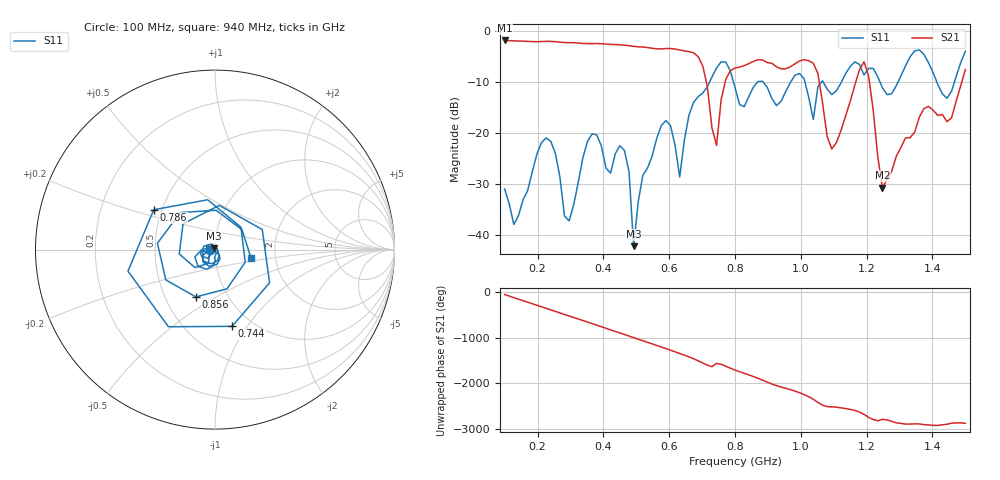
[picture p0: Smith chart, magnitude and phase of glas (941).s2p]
! NanoVNA-App
! Date: 2025-09-25 16:02:48
! Start: 100MHz Stop: 1,5GHz Points: 101
! S-Parameter data: F S11 S21 S12 S22
# Hz S RI R 50
!  Frequency  S11_Real  S11_Imag  S21_Real  S21_Imag  S12_Real  S12_Imag  S22_Real  S22_Imag
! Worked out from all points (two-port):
!   101 points, 100 MHz to 1.5 GHz, reference 50 ohm
!   highest |S21| = -1.80 dB at 100 MHz (marker M1); lowest = -30.6 dB at 1.248 GHz (marker M2)
!   |S21| within 3 dB of the highest: start of sweep to 684.7 MHz
!   lowest |S11| = -42.1 dB at 492 MHz (marker M3), VSWR 1.02, Z = 49.5 + j0.609 ohm
!   |S11| at or under -10 dB: start of sweep to 722.4 MHz; 795.5 MHz to 868 MHz (72.47 MHz wide, 8.71 % of centre); 886.2 MHz to 968.7 MHz (82.54 MHz wide, 8.9 % of centre) (the widest 3 of 7)
!   S12 and S22 are empty: the file has one direction only
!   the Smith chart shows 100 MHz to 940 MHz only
!   S11 on the Smith chart (normalised r, x): 100 MHz: 0.94, -0.01; 744 MHz: 0.81, -0.85; 786 MHz: 0.45, +0.24; 856 MHz: 0.71, -0.41; 940 MHz: 1.49, -0.15
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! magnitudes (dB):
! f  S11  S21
! 100 MHz  -30.9  -1.8
! 128 MHz  -37.9  -1.9
! 226 MHz  -20.9  -2.0
! 296 MHz  -37.2  -2.2
! 338 MHz  -24.7  -2.4
! 464 MHz  -23.4  -2.7
! 492 MHz  -42.1  -3.0
! 576 MHz  -18.5  -3.5
! 632 MHz  -28.6  -3.7
! 702 MHz  -12.1  -6.8
! 744 MHz  -7.2  -22.4
! 786 MHz  -7.8  -7.7
! 800 MHz  -11.0  -7.2
! 856 MHz  -10.9  -5.9
! 940 MHz  -13.7  -7.4
! 996 MHz  -8.3  -5.8
! 1.038 GHz  -17.3  -6.3
! 1.094 GHz  -12.4  -23.1
! 1.192 GHz  -8.6  -6.0
! 1.248 GHz  -11.1  -30.6
! 1.276 GHz  -12.2  -27.5
! 1.5 GHz  -3.9  -7.5
